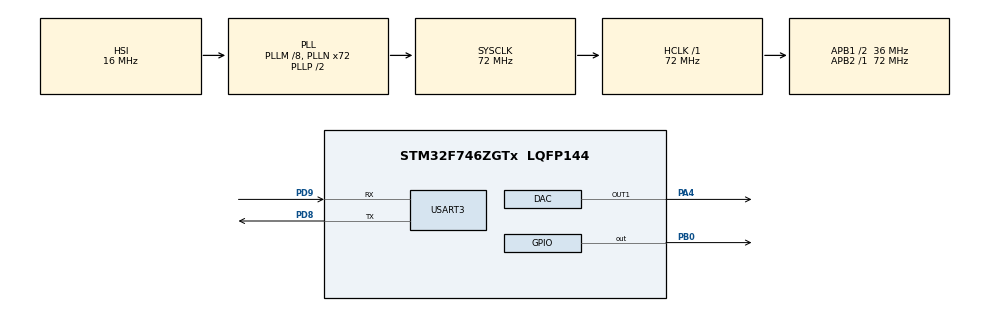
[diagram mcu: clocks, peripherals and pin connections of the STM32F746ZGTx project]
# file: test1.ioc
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Mcu.Family=STM32F7
NVIC.USART3_IRQn=true\:0\:0\:false\:false\:true\:true\:true
Dma.USART3_RX.0.Instance=DMA1_Stream1
RCC.PLLSourceVirtual=RCC_PLLSOURCE_HSI
SH.COMP_DAC1_group.0=DAC_OUT1,DAC_OUT1
Dma.USART3_RX.0.PeriphInc=DMA_PINC_DISABLE
RCC.CortexFreq_Value=72000000
RCC.SYSCLKSourceVirtual=RCC_SYSCLKSOURCE_PLLCLK
PD9.Signal=USART3_RX
NVIC.DMA1_Stream1_IRQn=true\:0\:0\:false\:false\:true\:false\:true
RCC.APB1CLKDivider=RCC_HCLK_DIV2
PD9.Mode=Asynchronous
RCC.SYSCLKSource=RCC_SYSCLKSOURCE_PLLCLK
ProjectManager.StackSize=0x400
Dma.USART3_RX.0.Mode=DMA_CIRCULAR
USART3.VirtualMode-Asynchronous=VM_ASYNC
ProjectManager.TargetToolchain=STM32CubeIDE
RCC.HCLKFreq_Value=72000000
RCC.APB2TimFreq_Value=72000000
PD8.Signal=USART3_TX
RCC.USBFreq_Value=48000000
RCC.LSE_VALUE=32768
PD8.Mode=Asynchronous
RCC.AHBFreq_Value=72000000
RCC.HSE_VALUE=8000000
Dma.USART3_RX.0.MemDataAlignment=DMA_MDATAALIGN_BYTE
board=NUCLEO-F746ZG
RCC.VCOOutputFreq_Value=144000000
RCC.PLLMUL=RCC_PLL_MUL9
RCC.APB2Freq_Value=72000000
RCC.PRESCALERUSB=RCC_USBCLKSOURCE_PLL_DIV1_5
Dma.USART3_RX.0.PeriphDataAlignment=DMA_PDATAALIGN_BYTE
Dma.USART3_RX.0.FIFOMode=DMA_FIFOMODE_DISABLE
Mcu.Name=STM32F746ZGTx
RCC.48MHZClocksFreq_Value=24000000
PA4.Signal=COMP_DAC1_group
RCC.SYSCLKFreq_VALUE=72000000
Dma.USART3_RX.0.Direction=DMA_PERIPH_TO_MEMORY
Mcu.Package=LQFP144
Dma.USART3_RX.0.Priority=DMA_PRIORITY_LOW
ProjectManager.HeapSize=0x200
Dma.USART3_RX.0.MemInc=DMA_MINC_ENABLE
RCC.HSI_VALUE=16000000
RCC.PLLQ=3
NVIC.PriorityGroup=NVIC_PRIORITYGROUP_4
RCC.PLLM=8
RCC.PLLN=72
RCC.APB1TimFreq_Value=72000000
RCC.APB1Freq_Value=36000000
Dma.Request0=USART3_RX
PB0.Signal=GPIO_Output

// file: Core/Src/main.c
/* USER CODE BEGIN Header */
/**
  ******************************************************************************
  * @file           : main.c
  * @brief          : Main program body
  ******************************************************************************
  * @attention
  *
  * <h2><center>&copy; Copyright (c) 2021 STMicroelectronics.
  * All rights reserved.</center></h2>
  *
  * This software component is licensed by ST under BSD 3-Clause license,
  * the "License"; You may not use this file except in compliance with the
  * License. You may obtain a copy of the License at:
  *                        opensource.org/licenses/BSD-3-Clause
  *
  ******************************************************************************
  */
/* USER CODE END Header */
#include "main.h"

DAC_HandleTypeDef hdac;

UART_HandleTypeDef huart3;
DMA_HandleTypeDef hdma_usart3_rx;

void SystemClock_Config(void);
static void MX_GPIO_Init(void);
static void MX_DMA_Init(void);
static void MX_USART3_UART_Init(void);
static void MX_DAC_Init(void);

/* USER CODE BEGIN 0 */
void prepare_myTxDataUart3(int value);

uint8_t myTxDataUart3[11] = "";
uint8_t myRxDataUart3[11];

int valueToSet = 0;

uint8_t setValue = 0;

/* USER CODE END 0 */

int main(void)
{

  /* MCU Configuration--------------------------------------------------------*/

  /* Reset of all peripherals, Initializes the Flash interface and the Systick. */
  HAL_Init();

  /* Configure the system clock */
  SystemClock_Config();

  /* Initialize all configured peripherals */
  MX_GPIO_Init();
  MX_DMA_Init();
  MX_USART3_UART_Init();
  MX_DAC_Init();
  /* USER CODE BEGIN 2 */
  HAL_UART_Receive_DMA(&huart3, myRxDataUart3, 5);

  HAL_DAC_SetValue(&hdac, DAC_CHANNEL_1, DAC_ALIGN_12B_R, 0);
  HAL_DAC_Start(&hdac , DAC_CHANNEL_1) ;
  /* USER CODE END 2 */

  /* Infinite loop */
  while (1)
  {

    /* USER CODE BEGIN 3 */

	  if (setValue == 1)
	  {
		  HAL_DAC_SetValue(&hdac, DAC_CHANNEL_1, DAC_ALIGN_12B_R, valueToSet);

		  HAL_Delay(1);

		  prepare_myTxDataUart3(valueToSet);
		  HAL_UART_Transmit(&huart3, myTxDataUart3, 6, 10);
		  setValue = 0;
	  }
  }
  /* USER CODE END 3 */
}

void SystemClock_Config(void)
{
  RCC_OscInitTypeDef RCC_OscInitStruct = {0};
  RCC_ClkInitTypeDef RCC_ClkInitStruct = {0};
  RCC_PeriphCLKInitTypeDef PeriphClkInitStruct = {0};

  /** Configure the main internal regulator output voltage
  */
  __HAL_RCC_PWR_CLK_ENABLE();
  __HAL_PWR_VOLTAGESCALING_CONFIG(PWR_REGULATOR_VOLTAGE_SCALE3);
  /** Initializes the RCC Oscillators according to the specified parameters
  * in the RCC_OscInitTypeDef structure.
  */
  RCC_OscInitStruct.OscillatorType = RCC_OSCILLATORTYPE_HSI;
  RCC_OscInitStruct.HSIState = RCC_HSI_ON;
  RCC_OscInitStruct.HSICalibrationValue = RCC_HSICALIBRATION_DEFAULT;
  RCC_OscInitStruct.PLL.PLLState = RCC_PLL_ON;
  RCC_OscInitStruct.PLL.PLLSource = RCC_PLLSOURCE_HSI;
  RCC_OscInitStruct.PLL.PLLM = 8;
  RCC_OscInitStruct.PLL.PLLN = 72;
  RCC_OscInitStruct.PLL.PLLP = RCC_PLLP_DIV2;
  RCC_OscInitStruct.PLL.PLLQ = 3;
  if (HAL_RCC_OscConfig(&RCC_OscInitStruct) != HAL_OK)
  {
    Error_Handler();
  }
  /** Initializes the CPU, AHB and APB buses clocks
  */
  RCC_ClkInitStruct.ClockType = RCC_CLOCKTYPE_HCLK|RCC_CLOCKTYPE_SYSCLK
                              |RCC_CLOCKTYPE_PCLK1|RCC_CLOCKTYPE_PCLK2;
  RCC_ClkInitStruct.SYSCLKSource = RCC_SYSCLKSOURCE_PLLCLK;
  RCC_ClkInitStruct.AHBCLKDivider = RCC_SYSCLK_DIV1;
  RCC_ClkInitStruct.APB1CLKDivider = RCC_HCLK_DIV2;
  RCC_ClkInitStruct.APB2CLKDivider = RCC_HCLK_DIV1;

  if (HAL_RCC_ClockConfig(&RCC_ClkInitStruct, FLASH_LATENCY_2) != HAL_OK)
  {
    Error_Handler();
  }
  PeriphClkInitStruct.PeriphClockSelection = RCC_PERIPHCLK_USART3;
  PeriphClkInitStruct.Usart3ClockSelection = RCC_USART3CLKSOURCE_PCLK1;
  if (HAL_RCCEx_PeriphCLKConfig(&PeriphClkInitStruct) != HAL_OK)
  {
    Error_Handler();
  }
}

static void MX_DAC_Init(void)
{

  DAC_ChannelConfTypeDef sConfig = {0};

  /** DAC Initialization
  */
  hdac.Instance = DAC;
  if (HAL_DAC_Init(&hdac) != HAL_OK)
  {
    Error_Handler();
  }
  /** DAC channel OUT1 config
  */
  sConfig.DAC_Trigger = DAC_TRIGGER_NONE;
  sConfig.DAC_OutputBuffer = DAC_OUTPUTBUFFER_ENABLE;
  if (HAL_DAC_ConfigChannel(&hdac, &sConfig, DAC_CHANNEL_1) != HAL_OK)
  {
    Error_Handler();
  }

}

static void MX_USART3_UART_Init(void)
{

  huart3.Instance = USART3;
  huart3.Init.BaudRate = 115200;
  huart3.Init.WordLength = UART_WORDLENGTH_8B;
  huart3.Init.StopBits = UART_STOPBITS_1;
  huart3.Init.Parity = UART_PARITY_NONE;
  huart3.Init.Mode = UART_MODE_TX_RX;
  huart3.Init.HwFlowCtl = UART_HWCONTROL_NONE;
  huart3.Init.OverSampling = UART_OVERSAMPLING_16;
  huart3.Init.OneBitSampling = UART_ONE_BIT_SAMPLE_DISABLE;
  huart3.AdvancedInit.AdvFeatureInit = UART_ADVFEATURE_NO_INIT;
  if (HAL_UART_Init(&huart3) != HAL_OK)
  {
    Error_Handler();
  }

}

static void MX_DMA_Init(void)
{

  /* DMA controller clock enable */
  __HAL_RCC_DMA1_CLK_ENABLE();

  /* DMA interrupt init */
  /* DMA1_Stream1_IRQn interrupt configuration */
  HAL_NVIC_SetPriority(DMA1_Stream1_IRQn, 0, 0);
  HAL_NVIC_EnableIRQ(DMA1_Stream1_IRQn);

}

static void MX_GPIO_Init(void)
{
  GPIO_InitTypeDef GPIO_InitStruct = {0};

  /* GPIO Ports Clock Enable */
  __HAL_RCC_GPIOA_CLK_ENABLE();
  __HAL_RCC_GPIOB_CLK_ENABLE();
  __HAL_RCC_GPIOD_CLK_ENABLE();

  /*Configure GPIO pin Output Level */
  HAL_GPIO_WritePin(GPIOB, GPIO_PIN_0, GPIO_PIN_RESET);

  /*Configure GPIO pin : PB0 */
  GPIO_InitStruct.Pin = GPIO_PIN_0;
  GPIO_InitStruct.Mode = GPIO_MODE_OUTPUT_PP;
  GPIO_InitStruct.Pull = GPIO_NOPULL;
  GPIO_InitStruct.Speed = GPIO_SPEED_FREQ_LOW;
  HAL_GPIO_Init(GPIOB, &GPIO_InitStruct);

}

/* USER CODE BEGIN 4 */
void HAL_UART_RxCpltCallback(UART_HandleTypeDef *huart)
{
  /* Prevent unused argument(s) compilation warning */
  UNUSED(huart);

  /* NOTE : This function should not be modified, when the callback is needed,
            the HAL_UART_RxCpltCallback can be implemented in the user file.
   */
  valueToSet = ((int)myRxDataUart3[0] - 48) * 1000;
  valueToSet += ((int)myRxDataUart3[1] - 48) * 100;
  valueToSet += ((int)myRxDataUart3[2] - 48) * 10;
  valueToSet += ((int)myRxDataUart3[3] - 48);

  setValue = 1;
}

void prepare_myTxDataUart3(int value){
	int num = 1000;
	for (int i = 0; i < 4 ; i++)
	{
		myTxDataUart3[i] = (char)((value / num ) % 10 + 48);
		num /= 10;
	}
	myTxDataUart3[4] = '\r';
	myTxDataUart3[5] = '\n';
}

/* USER CODE END 4 */

void Error_Handler(void)
{
  __disable_irq();
  while (1)
  {
  }
}

/************************ (C) COPYRIGHT STMicroelectronics *****END OF FILE****/
